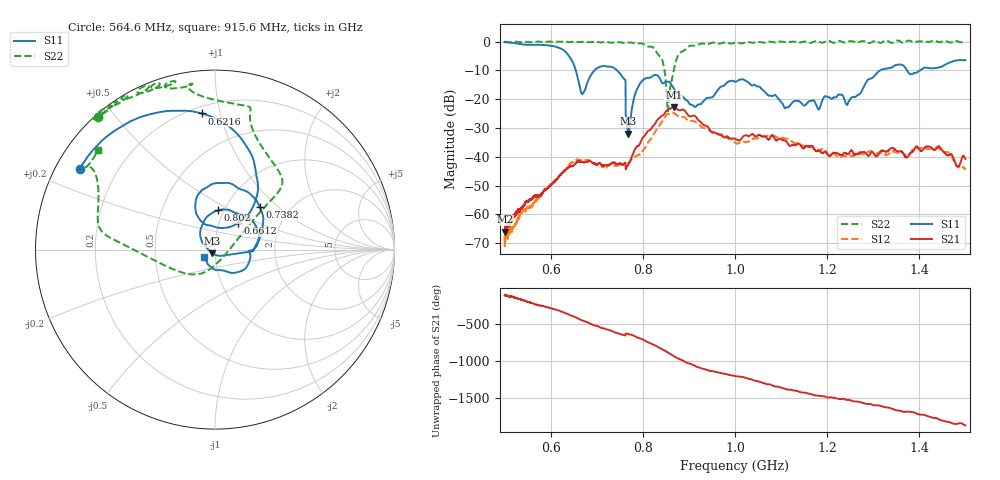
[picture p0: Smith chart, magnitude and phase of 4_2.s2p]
!Agilent Technologies,E8364B,US42250235,A.06.04.32
!Agilent E8364B: A.06.04.32
!Date: Thursday, October 01, 2020 15:59:01
!Correction: S11(Full 2 Port(1,2)) S21(Full 2 Port(1,2)) S12(Full 2 Port(1,2)) S22(Full 2 Port(1,2))
!S2P File: Measurements: S11, S21, S12, S22:
# Hz S  dB  R 50
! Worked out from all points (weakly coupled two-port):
!   2650 points, 500 MHz to 1.5 GHz, reference 50 ohm
!   highest |S21| = -22.79 dB at 866.9 MHz (marker M1); lowest = -66.0 dB at 500.4 MHz (marker M2)
!   lowest |S11| = -32.0 dB at 768.8 MHz (marker M3), VSWR 1.05, Z = 48.6 - j2.03 ohm
!   |S11| at or under -10 dB: 654.5 MHz to 694.9 MHz (40.36 MHz wide, 5.98 % of centre); 744.2 MHz to 1.315 GHz (570.7 MHz wide, 55.4 % of centre); 1.373 GHz to 1.402 GHz (28.47 MHz wide, 2.05 % of centre)
!   |S22| runs from -24.3 to 0.4 dB; largest |S21 - S12| = 0.029
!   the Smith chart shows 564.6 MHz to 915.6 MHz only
!   S11 on the Smith chart (normalised r, x): 564.6 MHz: 0.07, +0.27; 621.6 MHz: 0.24, +0.88; 661.2 MHz: 1.23, +0.38; 738.2 MHz: 1.42, +0.77; 802 MHz: 0.94, +0.43; 915.6 MHz: 0.88, -0.07
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5e8  -0.21 -175.6  -66.03 -103.0  -67.21 -91.8  -0.01 143.1
5.003775e8  -0.21 -175.8  -66.03 -107.3  -71.06 -94.0  -0.01 143.3
5.645527e8  -1.15 149.2  -53.52 138.1  -55.61 174.9  -0.13 131.2
6.215553e8  -2.36 95.5  -46.30 39.4  -46.31 50.4  -0.03 129.9
6.611929e8  -14.21 49.3  -41.61 -65.5  -41.04 -69.1  -0.16 124.5
6.668554e8  -17.97 71.7  -41.77 -81.3  -41.14 -82.4  -0.08 123.5
7.382031e8  -9.26 43.5  -42.03 114.4  -43.07 111.4  -0.25 108.4
7.574556e8  -12.62 8.1  -42.63 77.3  -42.72 73.8  -0.42 108.5
7.687807e8  -31.96 -124.2  -42.60 88.2  -42.11 56.3  -0.31 103.5
8.020008e8  -13.18 85.5  -32.98 5.8  -37.52 1.6  -0.92 98.8
8.337108e8  -12.07 12.6  -26.83 -90.8  -29.72 -70.3  -4.62 57.6
8.548509e8  -13.90 -23.7  -23.69 -165.3  -25.13 -145.9  -23.61 -65.8
8.669309e8  -16.28 -56.7  -22.79 148.8  -24.79 168.6  -10.17 -165.3
9.156285e8  -22.56 -145.7  -26.19 7.2  -28.07 36.2  -1.35 139.6
9.601737e8  -17.38 57.4  -31.89 -70.1  -32.15 -44.5  -0.59 135.1
1.000189e9  -13.96 -74.9  -33.84 -124.5  -35.13 -107.9  -0.34 119.1
1.090411e9  -19.09 110.6  -34.41 92.4  -33.10 122.0  -0.19 108.9
1.166667e9  -20.55 -91.0  -36.40 -14.7  -36.75 10.1  -0.36 99.7
1.244054e9  -21.87 -119.7  -39.06 -90.2  -39.58 -66.9  -0.15 88.4
1.333522e9  -9.28 -148.2  -37.79 165.0  -39.00 -172.2  0.10 96.9
1.438845e9  -9.11 167.1  -36.67 17.4  -36.88 28.3  -0.02 81.3
1.5e9  -6.46 138.1  -40.76 -78.2  -44.35 -64.7  0.28 71.5
